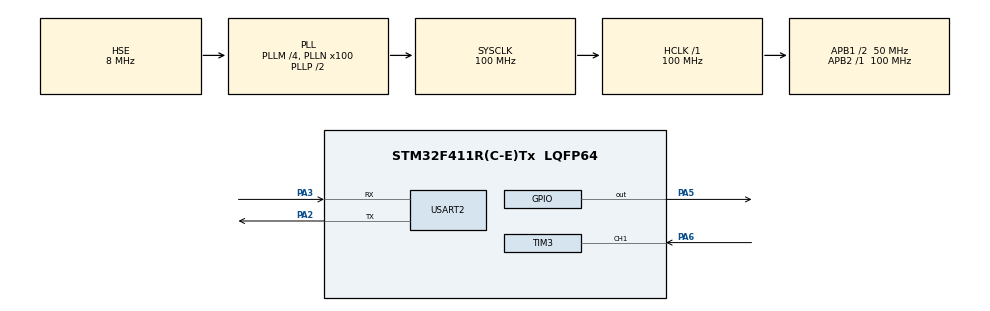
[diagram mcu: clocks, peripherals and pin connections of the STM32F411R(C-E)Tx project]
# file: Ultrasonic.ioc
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Mcu.Family=STM32F4
Mcu.Name=STM32F411R(C-E)Tx
Mcu.Package=LQFP64
NVIC.PriorityGroup=NVIC_PRIORITYGROUP_4
NVIC.TIM3_IRQn=true\:0\:0\:false\:false\:true\:true\:true\:true
NVIC.USART2_IRQn=true\:0\:0\:false\:false\:true\:true\:true\:true
PA13.Mode=Serial_Wire
PA13.Signal=SYS_JTMS-SWDIO
PA14.Mode=Serial_Wire
PA14.Signal=SYS_JTCK-SWCLK
PA2.Mode=Asynchronous
PA2.Signal=USART2_TX
PA3.Mode=Asynchronous
PA3.Signal=USART2_RX
PA5.Signal=GPIO_Output
PA6.Signal=S_TIM3_CH1
PH0\ -\ OSC_IN.Mode=HSE-External-Oscillator
PH0\ -\ OSC_IN.Signal=RCC_OSC_IN
PH1\ -\ OSC_OUT.Mode=HSE-External-Oscillator
PH1\ -\ OSC_OUT.Signal=RCC_OSC_OUT
ProjectManager.HeapSize=0x200
ProjectManager.StackSize=0x400
ProjectManager.TargetToolchain=STM32CubeIDE
RCC.48MHZClocksFreq_Value=50000000
RCC.AHBFreq_Value=100000000
RCC.APB1CLKDivider=RCC_HCLK_DIV2
RCC.APB1Freq_Value=50000000
RCC.APB1TimFreq_Value=100000000
RCC.APB2Freq_Value=100000000
RCC.APB2TimFreq_Value=100000000
RCC.CortexFreq_Value=100000000
RCC.HCLKFreq_Value=100000000
RCC.HSE_VALUE=8000000
RCC.HSI_VALUE=16000000
RCC.LSE_VALUE=32768
RCC.PLLM=4
RCC.PLLN=100
RCC.PLLSourceVirtual=RCC_PLLSOURCE_HSE
RCC.SYSCLKFreq_VALUE=100000000
RCC.SYSCLKSource=RCC_SYSCLKSOURCE_PLLCLK
RCC.VCOOutputFreq_Value=200000000
SH.S_TIM3_CH1.0=TIM3_CH1,Input_Capture1_from_TI1
TIM3.Channel-Input_Capture1_from_TI1=TIM_CHANNEL_1
TIM3.ICPolarity_CH1=TIM_INPUTCHANNELPOLARITY_BOTHEDGE
TIM3.Prescaler=100 - 1
USART2.VirtualMode=VM_ASYNC
VP_TIM3_VS_ClockSourceINT.Mode=Internal
board=custom

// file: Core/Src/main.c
/* USER CODE BEGIN Header */
/**
  ******************************************************************************
  * @file           : main.c
  * @brief          : Main program body
  ******************************************************************************
  * @attention
  *
  * Copyright (c) 2023 STMicroelectronics.
  * All rights reserved.
  *
  * This software is licensed under terms that can be found in the LICENSE file
  * in the root directory of this software component.
  * If no LICENSE file comes with this software, it is provided AS-IS.
  *
  ******************************************************************************
  */
/* USER CODE END Header */
#include "main.h"
#include "tim.h"
#include "usart.h"
#include "gpio.h"

/* USER CODE BEGIN Includes */
#include "stdio.h"
#include "stdbool.h"
#include "delay.h"
/* USER CODE END Includes */

/* USER CODE BEGIN PD */
#define TRIG_PORT GPIOA
#define TRIG_PIN GPIO_PIN_5
/* USER CODE END PD */

/* USER CODE BEGIN PM */
#ifdef __GNUC__
  /* With GCC, small printf (option LD Linker->Libraries->Small printf
     set to 'Yes') calls __io_putchar() */
  #define PUTCHAR_PROTOTYPE int __io_putchar(int ch)
#else
  #define PUTCHAR_PROTOTYPE int fputc(int ch, FILE *f)
#endif /* __GNUC__ */
PUTCHAR_PROTOTYPE
{
  /* Place your implementation of fputc here */
  /* e.g. write a character to the EVAL_COM1 and Loop until the end of transmission */
  HAL_UART_Transmit(&huart2, (uint8_t *)&ch, 1, 0xFFFF);

  return ch;
}
/* USER CODE END PM */

/* USER CODE BEGIN PV */
uint16_t INC_val1 = 0;
uint16_t INC_val2 = 0;
uint16_t echo_time = 0;
bool is_captured = false;
uint8_t distance = 0;
/* USER CODE END PV */

void SystemClock_Config(void);
/* USER CODE BEGIN PFP */
void HCSR04_read();
void HAL_TIM_IC_CaptureCallback(TIM_HandleTypeDef *);
/* USER CODE END PFP */

int main(void)
{

  /* MCU Configuration--------------------------------------------------------*/

  /* Reset of all peripherals, Initializes the Flash interface and the Systick. */
  HAL_Init();

  /* Configure the system clock */
  SystemClock_Config();

  /* Initialize all configured peripherals */
  MX_GPIO_Init();
  MX_TIM3_Init();
  MX_USART2_UART_Init();
  /* USER CODE BEGIN 2 */
  HAL_TIM_IC_Start_IT(&htim3, TIM_CHANNEL_1);
  /* USER CODE END 2 */

  /* Infinite loop */
  while (1)
  {

    /* USER CODE BEGIN 3 */
    HCSR04_read();
    HAL_Delay(100);
    printf("%dcm\r\n", distance);
  }
  /* USER CODE END 3 */
}

void SystemClock_Config(void)
{
  RCC_OscInitTypeDef RCC_OscInitStruct = {0};
  RCC_ClkInitTypeDef RCC_ClkInitStruct = {0};

  /** Configure the main internal regulator output voltage
  */
  __HAL_RCC_PWR_CLK_ENABLE();
  __HAL_PWR_VOLTAGESCALING_CONFIG(PWR_REGULATOR_VOLTAGE_SCALE1);

  /** Initializes the RCC Oscillators according to the specified parameters
  * in the RCC_OscInitTypeDef structure.
  */
  RCC_OscInitStruct.OscillatorType = RCC_OSCILLATORTYPE_HSE;
  RCC_OscInitStruct.HSEState = RCC_HSE_ON;
  RCC_OscInitStruct.PLL.PLLState = RCC_PLL_ON;
  RCC_OscInitStruct.PLL.PLLSource = RCC_PLLSOURCE_HSE;
  RCC_OscInitStruct.PLL.PLLM = 4;
  RCC_OscInitStruct.PLL.PLLN = 100;
  RCC_OscInitStruct.PLL.PLLP = RCC_PLLP_DIV2;
  RCC_OscInitStruct.PLL.PLLQ = 4;
  if (HAL_RCC_OscConfig(&RCC_OscInitStruct) != HAL_OK)
  {
    Error_Handler();
  }

  /** Initializes the CPU, AHB and APB buses clocks
  */
  RCC_ClkInitStruct.ClockType = RCC_CLOCKTYPE_HCLK|RCC_CLOCKTYPE_SYSCLK
                              |RCC_CLOCKTYPE_PCLK1|RCC_CLOCKTYPE_PCLK2;
  RCC_ClkInitStruct.SYSCLKSource = RCC_SYSCLKSOURCE_PLLCLK;
  RCC_ClkInitStruct.AHBCLKDivider = RCC_SYSCLK_DIV1;
  RCC_ClkInitStruct.APB1CLKDivider = RCC_HCLK_DIV2;
  RCC_ClkInitStruct.APB2CLKDivider = RCC_HCLK_DIV1;

  if (HAL_RCC_ClockConfig(&RCC_ClkInitStruct, FLASH_LATENCY_3) != HAL_OK)
  {
    Error_Handler();
  }
}

/* USER CODE BEGIN 4 */
void HCSR04_read() {
    HAL_GPIO_WritePin(TRIG_PORT, TRIG_PIN, GPIO_PIN_SET);
    delay_us(10);
    HAL_GPIO_WritePin(TRIG_PORT, TRIG_PIN, GPIO_PIN_RESET);

    __HAL_TIM_ENABLE_IT(&htim3, TIM_IT_CC1);
}

void HAL_TIM_IC_CaptureCallback(TIM_HandleTypeDef *htim) {
    if (htim->Instance == TIM3) {
        if (!is_captured) {
            INC_val1 = HAL_TIM_ReadCapturedValue(htim, TIM_CHANNEL_1);
            is_captured = true;
        }
        else {
            INC_val2 = HAL_TIM_ReadCapturedValue(htim, TIM_CHANNEL_1);
            __HAL_TIM_SET_COUNTER(htim, 0);

            if (INC_val2 > INC_val1) {
                echo_time = INC_val2 - INC_val1;
            }
            else {
                echo_time = 0xffff - INC_val1 + INC_val2;
            }

            distance = echo_time * 0.034 / 2;

            is_captured = false;

            __HAL_TIM_DISABLE_IT(htim, TIM_IT_CC1);
        }
    }
}
/* USER CODE END 4 */

void Error_Handler(void)
{
  __disable_irq();
  while (1)
  {
  }
}
